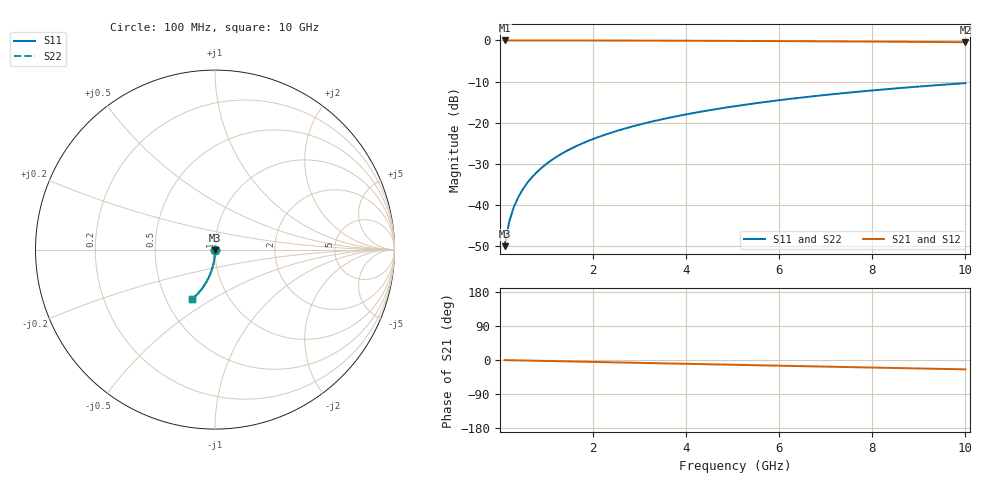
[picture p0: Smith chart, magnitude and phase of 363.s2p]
# Hz S RI R 50.00
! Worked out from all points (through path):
!   100 points, 100 MHz to 10 GHz, reference 50 ohm
!   highest |S21| = 0.00 dB at 100 MHz (marker M1); lowest = -0.4 dB at 10 GHz (marker M2)
!   group delay of S21, straight-line fit = 6.88 ps
!   lowest |S11| = -49.9 dB at 100 MHz (marker M3), VSWR 1.01, Z = 50 - j0.318 ohm
!   |S11| at or under -10 dB: start of sweep to end of sweep
!   |S22| runs from -49.9 to -10.4 dB; largest |S21 - S12| = 0
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1e8  0.000136 -0.00318  0.9998 -0.00438  0.9998 -0.00438  0.000136 -0.00318
2e8  9.12e-05 -0.00636  0.9998 -0.00877  0.9998 -0.00877  9.12e-05 -0.00636
3e8  1.85e-05 -0.00955  0.9997 -0.0131  0.9997 -0.0131  1.85e-05 -0.00955
4e8  -8.22e-05 -0.0127  0.9996 -0.0175  0.9996 -0.0175  -8.22e-05 -0.0127
5e8  -0.000211 -0.0159  0.9995 -0.0219  0.9995 -0.0219  -0.000211 -0.0159
6e8  -0.000367 -0.0191  0.9993 -0.0263  0.9993 -0.0263  -0.000367 -0.0191
7e8  -0.000552 -0.0223  0.9991 -0.0307  0.9991 -0.0307  -0.000552 -0.0223
8e8  -0.000765 -0.0254  0.9989 -0.0351  0.9989 -0.0351  -0.000765 -0.0254
9e8  -0.00101 -0.0286  0.9986 -0.0394  0.9986 -0.0394  -0.00101 -0.0286
1.1e9  -0.00157 -0.035  0.998 -0.0482  0.998 -0.0482  -0.00157 -0.035
1.4e9  -0.00263 -0.0445  0.9969 -0.0613  0.9969 -0.0613  -0.00263 -0.0445
1.8e9  -0.00442 -0.0571  0.995 -0.0787  0.995 -0.0787  -0.00442 -0.0571
2.1e9  -0.00606 -0.0665  0.9933 -0.0918  0.9933 -0.0918  -0.00606 -0.0665
2.5e9  -0.00863 -0.079  0.9906 -0.1091  0.9906 -0.1091  -0.00863 -0.079
2.9e9  -0.0116 -0.0914  0.9874 -0.1263  0.9874 -0.1263  -0.0116 -0.0914
3.4e9  -0.016 -0.1067  0.9828 -0.1477  0.9828 -0.1477  -0.016 -0.1067
4.2e9  -0.0243 -0.1307  0.9741 -0.1814  0.9741 -0.1814  -0.0243 -0.1307
5.1e9  -0.0356 -0.1568  0.9621 -0.2185  0.9621 -0.2185  -0.0356 -0.1568
5.9e9  -0.0473 -0.1791  0.9498 -0.2506  0.9498 -0.2506  -0.0473 -0.1791
6.7e9  -0.0604 -0.2003  0.9359 -0.2818  0.9359 -0.2818  -0.0604 -0.2003
8.4e9  -0.0924 -0.2417  0.902 -0.3443  0.902 -0.3443  -0.0924 -0.2417
1e10  -0.1269 -0.2753  0.8652 -0.3981  0.8652 -0.3981  -0.1269 -0.2753
